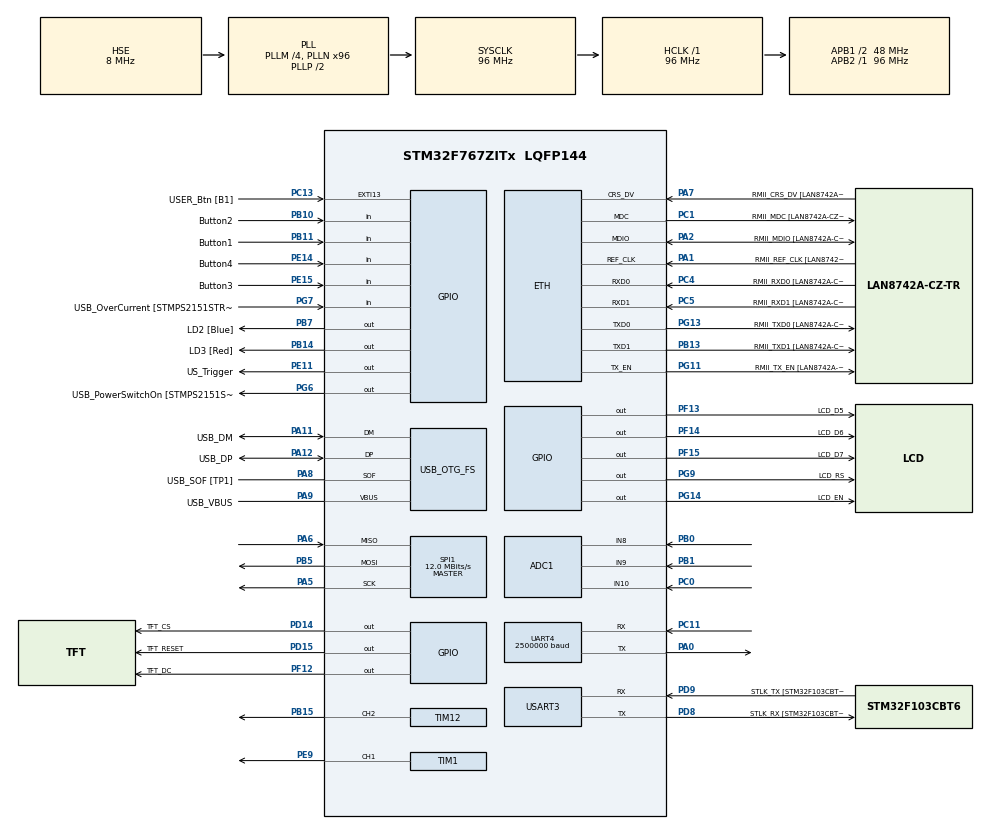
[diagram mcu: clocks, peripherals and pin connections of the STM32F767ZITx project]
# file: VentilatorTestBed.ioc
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ADC1.Channel-1\#ChannelRegularConversion=ADC_CHANNEL_8
ADC1.Channel-2\#ChannelRegularConversion=ADC_CHANNEL_9
ADC1.Channel-3\#ChannelRegularConversion=ADC_CHANNEL_10
ADC1.ContinuousConvMode=ENABLE
ADC1.DMAContinuousRequests=ENABLE
ADC1.EOCSelection=ADC_EOC_SEQ_CONV
ADC1.NbrOfConversion=3
ADC1.NbrOfConversionFlag=1
ADC1.Rank-1\#ChannelRegularConversion=1
ADC1.Rank-2\#ChannelRegularConversion=2
ADC1.Rank-3\#ChannelRegularConversion=3
ADC1.SamplingTime-1\#ChannelRegularConversion=ADC_SAMPLETIME_3CYCLES
ADC1.SamplingTime-2\#ChannelRegularConversion=ADC_SAMPLETIME_3CYCLES
ADC1.SamplingTime-3\#ChannelRegularConversion=ADC_SAMPLETIME_3CYCLES
ADC1.ScanConvMode=ADC_SCAN_ENABLE
ADC1.master=1
Dma.ADC1.4.Direction=DMA_PERIPH_TO_MEMORY
Dma.ADC1.4.FIFOMode=DMA_FIFOMODE_DISABLE
Dma.ADC1.4.Instance=DMA2_Stream4
Dma.ADC1.4.MemDataAlignment=DMA_MDATAALIGN_HALFWORD
Dma.ADC1.4.MemInc=DMA_MINC_ENABLE
Dma.ADC1.4.Mode=DMA_CIRCULAR
Dma.ADC1.4.PeriphDataAlignment=DMA_PDATAALIGN_HALFWORD
Dma.ADC1.4.PeriphInc=DMA_PINC_DISABLE
Dma.ADC1.4.Priority=DMA_PRIORITY_LOW
Dma.Request0=UART4_RX
Dma.Request1=SPI1_RX
Dma.Request2=SPI1_TX
Dma.Request3=UART4_TX
Dma.Request4=ADC1
Dma.SPI1_RX.1.Direction=DMA_PERIPH_TO_MEMORY
Dma.SPI1_RX.1.FIFOMode=DMA_FIFOMODE_DISABLE
Dma.SPI1_RX.1.Instance=DMA2_Stream0
Dma.SPI1_RX.1.MemDataAlignment=DMA_MDATAALIGN_HALFWORD
Dma.SPI1_RX.1.MemInc=DMA_MINC_ENABLE
Dma.SPI1_RX.1.Mode=DMA_NORMAL
Dma.SPI1_RX.1.PeriphDataAlignment=DMA_PDATAALIGN_HALFWORD
Dma.SPI1_RX.1.PeriphInc=DMA_PINC_DISABLE
Dma.SPI1_RX.1.Priority=DMA_PRIORITY_LOW
Dma.SPI1_TX.2.Direction=DMA_MEMORY_TO_PERIPH
Dma.SPI1_TX.2.FIFOMode=DMA_FIFOMODE_DISABLE
Dma.SPI1_TX.2.Instance=DMA2_Stream3
Dma.SPI1_TX.2.MemDataAlignment=DMA_MDATAALIGN_HALFWORD
Dma.SPI1_TX.2.MemInc=DMA_MINC_ENABLE
Dma.SPI1_TX.2.Mode=DMA_NORMAL
Dma.SPI1_TX.2.PeriphDataAlignment=DMA_PDATAALIGN_HALFWORD
Dma.SPI1_TX.2.PeriphInc=DMA_PINC_DISABLE
Dma.SPI1_TX.2.Priority=DMA_PRIORITY_LOW
Dma.UART4_RX.0.Direction=DMA_PERIPH_TO_MEMORY
Dma.UART4_RX.0.FIFOMode=DMA_FIFOMODE_DISABLE
Dma.UART4_RX.0.Instance=DMA1_Stream2
Dma.UART4_RX.0.MemDataAlignment=DMA_MDATAALIGN_BYTE
Dma.UART4_RX.0.MemInc=DMA_MINC_ENABLE
Dma.UART4_RX.0.Mode=DMA_NORMAL
Dma.UART4_RX.0.PeriphDataAlignment=DMA_PDATAALIGN_BYTE
Dma.UART4_RX.0.PeriphInc=DMA_PINC_DISABLE
Dma.UART4_RX.0.Priority=DMA_PRIORITY_LOW
Dma.UART4_TX.3.Direction=DMA_MEMORY_TO_PERIPH
Dma.UART4_TX.3.FIFOMode=DMA_FIFOMODE_DISABLE
Dma.UART4_TX.3.Instance=DMA1_Stream4
Dma.UART4_TX.3.MemDataAlignment=DMA_MDATAALIGN_BYTE
Dma.UART4_TX.3.MemInc=DMA_MINC_ENABLE
Dma.UART4_TX.3.Mode=DMA_NORMAL
Dma.UART4_TX.3.PeriphDataAlignment=DMA_PDATAALIGN_BYTE
Dma.UART4_TX.3.PeriphInc=DMA_PINC_DISABLE
Dma.UART4_TX.3.Priority=DMA_PRIORITY_LOW
ETH.MediaInterface=ETH_MEDIA_INTERFACE_RMII
ETH.PHY_Name=LAN8742A_PHY_ADDRESS
ETH.PHY_Value=0
ETH.PhyAddress=0
FREERTOS.Tasks01=defaultTask,24,128,StartDefaultTask,Default,NULL
FREERTOS.configTIMER_TASK_PRIORITY=55
Mcu.Family=STM32F7
Mcu.Name=STM32F767ZITx
Mcu.Package=LQFP144
NVIC.DMA1_Stream2_IRQn=true\:5\:0\:false\:false\:true\:true\:false\:true
NVIC.DMA1_Stream4_IRQn=true\:5\:0\:false\:false\:true\:true\:false\:true
NVIC.DMA2_Stream0_IRQn=true\:5\:0\:false\:false\:true\:true\:false\:true
NVIC.DMA2_Stream3_IRQn=true\:5\:0\:false\:false\:true\:true\:false\:true
NVIC.DMA2_Stream4_IRQn=true\:5\:0\:false\:false\:true\:true\:false\:true
NVIC.PriorityGroup=NVIC_PRIORITYGROUP_4
NVIC.SPI1_IRQn=true\:5\:0\:false\:false\:true\:true\:true\:true
NVIC.TIM1_UP_TIM10_IRQn=true\:5\:0\:false\:false\:true\:true\:true\:true
NVIC.TIM8_UP_TIM13_IRQn=true\:0\:0\:false\:false\:true\:false\:false\:true
NVIC.TimeBase=TIM8_UP_TIM13_IRQn
NVIC.TimeBaseIP=TIM8
PA0/WKUP.Mode=Asynchronous
PA0/WKUP.Signal=UART4_TX
PA1.GPIO_Label=RMII_REF_CLK [LAN8742A-CZ-TR_REFCLK0]
PA1.Mode=RMII
PA1.Signal=ETH_REF_CLK
PA10.GPIO_Label=USB_ID
PA10.Signal=USB_OTG_FS_ID
PA11.GPIO_Label=USB_DM
PA11.Mode=Device_Only
PA11.Signal=USB_OTG_FS_DM
PA12.GPIO_Label=USB_DP
PA12.Mode=Device_Only
PA12.Signal=USB_OTG_FS_DP
PA13.GPIO_Label=TMS
PA13.Mode=Serial_Wire
PA13.Signal=SYS_JTMS-SWDIO
PA14.GPIO_Label=TCK
PA14.Mode=Serial_Wire
PA14.Signal=SYS_JTCK-SWCLK
PA2.GPIO_Label=RMII_MDIO [LAN8742A-CZ-TR_MDIO]
PA2.Mode=RMII
PA2.Signal=ETH_MDIO
PA5.Mode=Full_Duplex_Master
PA5.Signal=SPI1_SCK
PA6.Mode=Full_Duplex_Master
PA6.Signal=SPI1_MISO
PA7.GPIO_Label=RMII_CRS_DV [LAN8742A-CZ-TR_CRS_DV]
PA7.Mode=RMII
PA7.Signal=ETH_CRS_DV
PA8.GPIO_Label=USB_SOF [TP1]
PA8.Mode=Activate_SOF_FS
PA8.Signal=USB_OTG_FS_SOF
PA9.GPIO_Label=USB_VBUS
PA9.Mode=Activate_VBUS
PA9.Signal=USB_OTG_FS_VBUS
PB0.Signal=ADCx_IN8
PB1.Signal=ADCx_IN9
PB10.GPIO_Label=Button2
PB10.GPIO_PuPd=GPIO_PULLUP
PB10.Signal=GPIO_Input
PB11.GPIO_Label=Button1
PB11.GPIO_PuPd=GPIO_PULLUP
PB11.Signal=GPIO_Input
PB13.GPIO_Label=RMII_TXD1 [LAN8742A-CZ-TR_TXD1]
PB13.Mode=RMII
PB13.Signal=ETH_TXD1
PB14.GPIO_Label=LD3 [Red]
PB14.Signal=GPIO_Output
PB15.Signal=S_TIM12_CH2
PB3.GPIO_Label=SWO
PB3.Signal=SYS_JTDO-SWO
PB5.Mode=Full_Duplex_Master
PB5.Signal=SPI1_MOSI
PB7.GPIO_Label=LD2 [Blue]
PB7.Signal=GPIO_Output
PC0.Signal=ADCx_IN10
PC1.GPIO_Label=RMII_MDC [LAN8742A-CZ-TR_MDC]
PC1.Mode=RMII
PC1.Signal=ETH_MDC
PC11.Mode=Asynchronous
PC11.Signal=UART4_RX
PC13.GPIO_Label=USER_Btn [B1]
PC13.Signal=GPXTI13
PC14/OSC32_IN.Mode=LSE-External-Oscillator
PC14/OSC32_IN.Signal=RCC_OSC32_IN
PC15/OSC32_OUT.Mode=LSE-External-Oscillator
PC15/OSC32_OUT.Signal=RCC_OSC32_OUT
PC4.GPIO_Label=RMII_RXD0 [LAN8742A-CZ-TR_RXD0]
PC4.Mode=RMII
PC4.Signal=ETH_RXD0
PC5.GPIO_Label=RMII_RXD1 [LAN8742A-CZ-TR_RXD1]
PC5.Mode=RMII
PC5.Signal=ETH_RXD1
PD14.GPIO_Label=TFT_CS
PD14.Signal=GPIO_Output
PD15.GPIO_Label=TFT_RESET
PD15.Signal=GPIO_Output
PD8.GPIO_Label=STLK_RX [STM32F103CBT6_PA3]
PD8.Mode=Asynchronous
PD8.Signal=USART3_TX
PD9.GPIO_Label=STLK_TX [STM32F103CBT6_PA2]
PD9.Mode=Asynchronous
PD9.Signal=USART3_RX
PE11.GPIO_Label=US_Trigger
PE11.Signal=GPIO_Output
PE14.GPIO_Label=Button4
PE14.GPIO_PuPd=GPIO_PULLUP
PE14.Signal=GPIO_Input
PE15.GPIO_Label=Button3
PE15.GPIO_PuPd=GPIO_PULLUP
PE15.Signal=GPIO_Input
PE9.Signal=S_TIM1_CH1
PF12.GPIO_Label=TFT_DC
PF12.GPIO_ModeDefaultOutputPP=GPIO_MODE_OUTPUT_PP
PF12.Signal=GPIO_Output
PF13.GPIO_Label=LCD_D5
PF13.GPIO_ModeDefaultOutputPP=GPIO_MODE_OUTPUT_OD
PF13.Signal=GPIO_Output
PF14.GPIO_Label=LCD_D6
PF14.GPIO_ModeDefaultOutputPP=GPIO_MODE_OUTPUT_OD
PF14.Signal=GPIO_Output
PF15.GPIO_Label=LCD_D7
PF15.GPIO_ModeDefaultOutputPP=GPIO_MODE_OUTPUT_OD
PF15.Signal=GPIO_Output
PG11.GPIO_Label=RMII_TX_EN [LAN8742A-CZ-TR_TXEN]
PG11.Mode=RMII
PG11.Signal=ETH_TX_EN
PG13.GPIO_Label=RMII_TXD0 [LAN8742A-CZ-TR_TXD0]
PG13.Mode=RMII
PG13.Signal=ETH_TXD0
PG14.GPIO_Label=LCD_EN
PG14.GPIO_ModeDefaultOutputPP=GPIO_MODE_OUTPUT_OD
PG14.GPIO_PuPd=GPIO_PULLUP
PG14.Signal=GPIO_Output
PG6.GPIO_Label=USB_PowerSwitchOn [STMPS2151STR_EN]
PG6.Signal=GPIO_Output
PG7.GPIO_Label=USB_OverCurrent [STMPS2151STR_FAULT]
PG7.Signal=GPIO_Input
PG9.GPIO_Label=LCD_RS
PG9.GPIO_ModeDefaultOutputPP=GPIO_MODE_OUTPUT_OD
PG9.Signal=GPIO_Output
PH0/OSC_IN.GPIO_Label=MCO [STM32F103CBT6_PA8]
PH0/OSC_IN.Mode=HSE-External-Clock-Source
PH0/OSC_IN.Signal=RCC_OSC_IN
PH1/OSC_OUT.Mode=HSE-External-Clock-Source
PH1/OSC_OUT.Signal=RCC_OSC_OUT
ProjectManager.HeapSize=0x200
ProjectManager.StackSize=0x400
ProjectManager.TargetToolchain=Makefile
RCC.48MHZClocksFreq_Value=24000000
RCC.AHBFreq_Value=96000000
RCC.APB1CLKDivider=RCC_HCLK_DIV2
RCC.APB1Freq_Value=48000000
RCC.APB1TimFreq_Value=96000000
RCC.APB2Freq_Value=96000000
RCC.APB2TimFreq_Value=96000000
RCC.CortexFreq_Value=96000000
RCC.HCLKFreq_Value=96000000
RCC.HSE_VALUE=8000000
RCC.HSI_VALUE=16000000
RCC.PLLM=4
RCC.PLLMUL=RCC_PLL_MUL9
RCC.PLLN=96
RCC.PLLQ=4
RCC.PRESCALERUSB=RCC_USBCLKSOURCE_PLL_DIV1_5
RCC.SYSCLKFreq_VALUE=96000000
RCC.SYSCLKSource=RCC_SYSCLKSOURCE_PLLCLK
RCC.SYSCLKSourceVirtual=RCC_SYSCLKSOURCE_PLLCLK
RCC.USBFreq_Value=48000000
RCC.VCOOutputFreq_Value=192000000
SH.ADCx_IN10.0=ADC1_IN10,IN10
SH.ADCx_IN8.0=ADC1_IN8,IN8
SH.ADCx_IN9.0=ADC1_IN9,IN9
SH.S_TIM12_CH2.0=TIM12_CH2,PWM Generation2 CH2
SH.S_TIM1_CH1.0=TIM1_CH1,PWM Generation1 CH1
SPI1.BaudRatePrescaler=SPI_BAUDRATEPRESCALER_8
SPI1.CalculateBaudRate=12.0 MBits/s
SPI1.DataSize=SPI_DATASIZE_8BIT
SPI1.Direction=SPI_DIRECTION_2LINES
SPI1.Mode=SPI_MODE_MASTER
SPI1.TIMode=SPI_TIMODE_DISABLE
SPI1.VirtualType=VM_MASTER
TIM1.Channel-PWM\ Generation1\ CH1=TIM_CHANNEL_1
TIM1.Period=65535
TIM12.Channel-PWM\ Generation2\ CH2=TIM_CHANNEL_2
TIM12.Period=65535
TIM12.Pulse-PWM\ Generation2\ CH2=10000
UART4.BaudRate=2500000
USART3.VirtualMode-Asynchronous=VM_ASYNC
USB_OTG_FS.VirtualMode=Device_Only
VP_FREERTOS_VS_CMSIS_V2.Mode=CMSIS_V2
VP_IWDG_VS_IWDG.Mode=IWDG_Activate
VP_SYS_VS_tim8.Mode=TIM8
VP_TIM12_VS_ClockSourceINT.Mode=Internal
VP_TIM12_VS_OPM.Mode=OPM_bit
VP_TIM1_VS_ClockSourceINT.Mode=Internal
board=NUCLEO-F767ZI

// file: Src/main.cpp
/* USER CODE BEGIN Header */
/**
  ******************************************************************************
  * @file           : main.c
  * @brief          : Main program body
  ******************************************************************************
  * @attention
  *
  * <h2><center>&copy; Copyright (c) 2020 STMicroelectronics.
  * All rights reserved.</center></h2>
  *
  * This software component is licensed by ST under Ultimate Liberty license
  * SLA0044, the "License"; You may not use this file except in compliance with
  * the License. You may obtain a copy of the License at:
  *                             www.st.com/SLA0044
  *
  ******************************************************************************
  */
/* USER CODE END Header */

#include "main.h"
#include "cmsis_os.h"

/* USER CODE BEGIN Includes */
#include "CircularBuffer.hpp"
#include "test.hpp"
#include "LinkedList.hpp"
#include "WatchdogTask.hpp"
#include "PneumaticActuator.hpp"
#include "UserInput.hpp"
#include "ButtonHandler.hpp"
#include "AnemometerTask.hpp"
#include "DisplayTask.hpp"
#include "ILI9340.hpp"
#include "ILI9340_CTranslator.h"
#include "GUI.h"
/* USER CODE END Includes */

ADC_HandleTypeDef hadc1;
DMA_HandleTypeDef hdma_adc1;

ETH_HandleTypeDef heth;

IWDG_HandleTypeDef hiwdg;

SPI_HandleTypeDef hspi1;
DMA_HandleTypeDef hdma_spi1_rx;
DMA_HandleTypeDef hdma_spi1_tx;

TIM_HandleTypeDef htim1;
TIM_HandleTypeDef htim12;

UART_HandleTypeDef huart4;
UART_HandleTypeDef huart3;
DMA_HandleTypeDef hdma_uart4_rx;
DMA_HandleTypeDef hdma_uart4_tx;

PCD_HandleTypeDef hpcd_USB_OTG_FS;

osThreadId_t defaultTaskHandle;
/* USER CODE BEGIN PV */
char CBBuffer[256];
CCBBuffer<char> UARTCB(CBBuffer, ARRAY_LEN(CBBuffer), false, true);

//CTestTask test(1000);

/* USER CODE END PV */

void SystemClock_Config(void);
static void MX_GPIO_Init(void);
static void MX_DMA_Init(void);
static void MX_ETH_Init(void);
static void MX_USART3_UART_Init(void);
static void MX_USB_OTG_FS_PCD_Init(void);
static void MX_SPI1_Init(void);
static void MX_UART4_Init(void);
static void MX_IWDG_Init(void);
static void MX_TIM1_Init(void);
static void MX_ADC1_Init(void);
static void MX_TIM12_Init(void);
void StartDefaultTask(void *argument);

/* USER CODE BEGIN PFP */
int main(void);
/* USER CODE END PFP */

/* USER CODE BEGIN 0 */
uint32_t blinkyStack[512];
uint32_t encoderStack[512];
uint32_t PAStack[512];
uint32_t UIStack[2048];
uint32_t debounceStack[512];
uint32_t buttonHandlerStack[512];
uint32_t AnemometerStack[512];
uint32_t DisplayStack[2048];

uint32_t watchdogStack[512];
CWatchdogTask watchdogTask("watchdog"
                        , 100.0f
                        , osPriorityNormal7
                        , (void *)watchdogStack
                        , ARRAY_LEN(watchdogStack)
                        , &hiwdg);

extern CILI9340 ILI9340;

CTestTask blinky("blinky"
        , 1
        , osPriorityNormal
        , (void *)blinkyStack
        , ARRAY_LEN(blinkyStack)
        , &watchdogTask);

CPneumaticActuator pneumaticActuator("Pneumatic Actuator"
        , 25
        , osPriorityNormal
        , (void *)PAStack
        , ARRAY_LEN(PAStack)
        , &htim1
        , &watchdogTask);

CUserInput UserInput("User Input"
        , 100
        , osPriorityNormal
        , (void *)UIStack
        , ARRAY_LEN(UIStack)
        , &hadc1
        , nullptr
        , &pneumaticActuator
        , &watchdogTask);

CDebounceTask DebounceTask("Debounce Task"
        , 100
        , osPriorityNormal
        , (void *)debounceStack
        , ARRAY_LEN(debounceStack)
        , &watchdogTask);

CbuttonHandler ButtonHandler("Button Handle Task"
        , 100
        , osPriorityNormal
        , (void *)buttonHandlerStack
        , ARRAY_LEN(buttonHandlerStack)
        , &DebounceTask
        , &pneumaticActuator
        , &watchdogTask);

CAnemometerTask AnemometerTask("Anemometer Task"
        , 1
        , osPriorityNormal
        , (void *)AnemometerStack
        , ARRAY_LEN(AnemometerStack)
        , &htim12
        , &watchdogTask);

CDisplayTask DisplayTask("Display Task"
        , 100
        , osPriorityNormal
        , (void *)DisplayStack
        , ARRAY_LEN(DisplayStack)
        , &ILI9340
        , TFT_WIDTH
        , TFT_HEIGHT
        , &watchdogTask);

//CGraphWidget graph(&ILI9340, 0, 0, TFT_HEIGHT, TFT_WIDTH, LIGHTGREY);

/* USER CODE END 0 */

int main(void)
{

  /* MCU Configuration--------------------------------------------------------*/

  /* Reset of all peripherals, Initializes the Flash interface and the Systick. */
  HAL_Init();

  /* Configure the system clock */
  SystemClock_Config();

  /* Initialize all configured peripherals */
  MX_GPIO_Init();
  MX_DMA_Init();
//  MX_ETH_Init();
  MX_USART3_UART_Init();
  MX_USB_OTG_FS_PCD_Init();
  MX_SPI1_Init();
  MX_UART4_Init();
  MX_IWDG_Init();
  MX_TIM1_Init();
  MX_ADC1_Init();
  MX_TIM12_Init();

  osKernelInitialize();

  /* Create the thread(s) */
  /* definition and creation of defaultTask */
  const osThreadAttr_t defaultTask_attributes = {
    .name = "defaultTask",
    .stack_size = 128,
    .priority = (osPriority_t) osPriorityNormal
  };
  defaultTaskHandle = osThreadNew(StartDefaultTask, NULL, &defaultTask_attributes);

  /* USER CODE BEGIN RTOS_THREADS */
  /* add threads, ... */
  ILI9340.init();
  ILI9340.setRotation(1);

  DisplayTask.start();
//  ControlWidget.init();
  watchdogTask.start();
  blinky.start();
  UserInput.start();
  pneumaticActuator.start();
  DebounceTask.start();
  ButtonHandler.start();
  AnemometerTask.start();

  /* USER CODE END RTOS_THREADS */

  /* Start scheduler */
  osKernelStart();

  /* We should never get here as control is now taken by the scheduler */

  /* Infinite loop */
  while (1)
  {

  }
}

void SystemClock_Config(void)
{
  RCC_OscInitTypeDef RCC_OscInitStruct = {0};
  RCC_ClkInitTypeDef RCC_ClkInitStruct = {0};
  RCC_PeriphCLKInitTypeDef PeriphClkInitStruct = {0};

  /** Configure LSE Drive Capability
  */
  HAL_PWR_EnableBkUpAccess();
  /** Configure the main internal regulator output voltage
  */
  __HAL_RCC_PWR_CLK_ENABLE();
  __HAL_PWR_VOLTAGESCALING_CONFIG(PWR_REGULATOR_VOLTAGE_SCALE3);
  /** Initializes the CPU, AHB and APB busses clocks
  */
  RCC_OscInitStruct.OscillatorType = RCC_OSCILLATORTYPE_LSI|RCC_OSCILLATORTYPE_HSE;
  RCC_OscInitStruct.HSEState = RCC_HSE_BYPASS;
  RCC_OscInitStruct.LSIState = RCC_LSI_ON;
  RCC_OscInitStruct.PLL.PLLState = RCC_PLL_ON;
  RCC_OscInitStruct.PLL.PLLSource = RCC_PLLSOURCE_HSE;
  RCC_OscInitStruct.PLL.PLLM = 4;
  RCC_OscInitStruct.PLL.PLLN = 96;
  RCC_OscInitStruct.PLL.PLLP = RCC_PLLP_DIV2;
  RCC_OscInitStruct.PLL.PLLQ = 4;
  if (HAL_RCC_OscConfig(&RCC_OscInitStruct) != HAL_OK)
  {
    Error_Handler();
  }
  /** Activate the Over-Drive mode
  */
  if (HAL_PWREx_EnableOverDrive() != HAL_OK)
  {
    Error_Handler();
  }
  /** Initializes the CPU, AHB and APB busses clocks
  */
  RCC_ClkInitStruct.ClockType = RCC_CLOCKTYPE_HCLK|RCC_CLOCKTYPE_SYSCLK
                              |RCC_CLOCKTYPE_PCLK1|RCC_CLOCKTYPE_PCLK2;
  RCC_ClkInitStruct.SYSCLKSource = RCC_SYSCLKSOURCE_PLLCLK;
  RCC_ClkInitStruct.AHBCLKDivider = RCC_SYSCLK_DIV1;
  RCC_ClkInitStruct.APB1CLKDivider = RCC_HCLK_DIV2;
  RCC_ClkInitStruct.APB2CLKDivider = RCC_HCLK_DIV1;

  if (HAL_RCC_ClockConfig(&RCC_ClkInitStruct, FLASH_LATENCY_3) != HAL_OK)
  {
    Error_Handler();
  }
  PeriphClkInitStruct.PeriphClockSelection = RCC_PERIPHCLK_USART3|RCC_PERIPHCLK_UART4
                              |RCC_PERIPHCLK_CLK48;
  PeriphClkInitStruct.Usart3ClockSelection = RCC_USART3CLKSOURCE_PCLK1;
  PeriphClkInitStruct.Uart4ClockSelection = RCC_UART4CLKSOURCE_PCLK1;
  PeriphClkInitStruct.Clk48ClockSelection = RCC_CLK48SOURCE_PLL;
  if (HAL_RCCEx_PeriphCLKConfig(&PeriphClkInitStruct) != HAL_OK)
  {
    Error_Handler();
  }
}

static void MX_ADC1_Init(void)
{

  ADC_ChannelConfTypeDef sConfig = {0};

  /** Configure the global features of the ADC (Clock, Resolution, Data Alignment and number of conversion)
  */
  hadc1.Instance = ADC1;
  hadc1.Init.ClockPrescaler = ADC_CLOCK_SYNC_PCLK_DIV4;
  hadc1.Init.Resolution = ADC_RESOLUTION_12B;
  hadc1.Init.ScanConvMode = ADC_SCAN_ENABLE;
  hadc1.Init.ContinuousConvMode = ENABLE;
  hadc1.Init.DiscontinuousConvMode = DISABLE;
  hadc1.Init.ExternalTrigConvEdge = ADC_EXTERNALTRIGCONVEDGE_NONE;
  hadc1.Init.ExternalTrigConv = ADC_SOFTWARE_START;
  hadc1.Init.DataAlign = ADC_DATAALIGN_RIGHT;
  hadc1.Init.NbrOfConversion = 3;
  hadc1.Init.DMAContinuousRequests = ENABLE;
  hadc1.Init.EOCSelection = ADC_EOC_SEQ_CONV;
  if (HAL_ADC_Init(&hadc1) != HAL_OK)
  {
    Error_Handler();
  }
  /** Configure for the selected ADC regular channel its corresponding rank in the sequencer and its sample time.
  */
  sConfig.Channel = ADC_CHANNEL_8;
  sConfig.Rank = ADC_REGULAR_RANK_1;
  sConfig.SamplingTime = ADC_SAMPLETIME_3CYCLES;
  if (HAL_ADC_ConfigChannel(&hadc1, &sConfig) != HAL_OK)
  {
    Error_Handler();
  }
  /** Configure for the selected ADC regular channel its corresponding rank in the sequencer and its sample time.
  */
  sConfig.Channel = ADC_CHANNEL_9;
  sConfig.Rank = ADC_REGULAR_RANK_2;
  if (HAL_ADC_ConfigChannel(&hadc1, &sConfig) != HAL_OK)
  {
    Error_Handler();
  }
  /** Configure for the selected ADC regular channel its corresponding rank in the sequencer and its sample time.
  */
  sConfig.Channel = ADC_CHANNEL_10;
  sConfig.Rank = ADC_REGULAR_RANK_3;
  if (HAL_ADC_ConfigChannel(&hadc1, &sConfig) != HAL_OK)
  {
    Error_Handler();
  }

}

static void MX_ETH_Init(void)
{

   uint8_t MACAddr[6] ;

  heth.Instance = ETH;
  heth.Init.AutoNegotiation = ETH_AUTONEGOTIATION_ENABLE;
  heth.Init.PhyAddress = LAN8742A_PHY_ADDRESS;
  MACAddr[0] = 0x00;
  MACAddr[1] = 0x80;
  MACAddr[2] = 0xE1;
  MACAddr[3] = 0x00;
  MACAddr[4] = 0x00;
  MACAddr[5] = 0x00;
  heth.Init.MACAddr = &MACAddr[0];
  heth.Init.RxMode = ETH_RXPOLLING_MODE;
  heth.Init.ChecksumMode = ETH_CHECKSUM_BY_HARDWARE;
  heth.Init.MediaInterface = ETH_MEDIA_INTERFACE_RMII;

  if (HAL_ETH_Init(&heth) != HAL_OK)
  {
    Error_Handler();
  }

}

static void MX_IWDG_Init(void)
{

  /* USER CODE BEGIN IWDG_Init 1 */
#if 0
  /* USER CODE END IWDG_Init 1 */
  hiwdg.Instance = IWDG;
  hiwdg.Init.Prescaler = IWDG_PRESCALER_4;
  hiwdg.Init.Window = 4095;
  hiwdg.Init.Reload = 4095;
  if (HAL_IWDG_Init(&hiwdg) != HAL_OK)
  {
    Error_Handler();
  }
  /* USER CODE BEGIN IWDG_Init 2 */
#endif
  /* USER CODE END IWDG_Init 2 */

}

static void MX_SPI1_Init(void)
{

  /* SPI1 parameter configuration*/
  hspi1.Instance = SPI1;
  hspi1.Init.Mode = SPI_MODE_MASTER;
  hspi1.Init.Direction = SPI_DIRECTION_2LINES;
  hspi1.Init.DataSize = SPI_DATASIZE_8BIT;
  hspi1.Init.CLKPolarity = SPI_POLARITY_LOW;
  hspi1.Init.CLKPhase = SPI_PHASE_1EDGE;
  hspi1.Init.NSS = SPI_NSS_SOFT;
  hspi1.Init.BaudRatePrescaler = SPI_BAUDRATEPRESCALER_8;
  hspi1.Init.FirstBit = SPI_FIRSTBIT_MSB;
  hspi1.Init.TIMode = SPI_TIMODE_DISABLE;
  hspi1.Init.CRCCalculation = SPI_CRCCALCULATION_DISABLE;
  hspi1.Init.CRCPolynomial = 7;
  hspi1.Init.CRCLength = SPI_CRC_LENGTH_DATASIZE;
  hspi1.Init.NSSPMode = SPI_NSS_PULSE_ENABLE;
  if (HAL_SPI_Init(&hspi1) != HAL_OK)
  {
    Error_Handler();
  }

}

static void MX_TIM1_Init(void)
{

  TIM_ClockConfigTypeDef sClockSourceConfig = {0};
  TIM_MasterConfigTypeDef sMasterConfig = {0};
  TIM_OC_InitTypeDef sConfigOC = {0};
  TIM_BreakDeadTimeConfigTypeDef sBreakDeadTimeConfig = {0};

  htim1.Instance = TIM1;
  htim1.Init.Prescaler = 0;
  htim1.Init.CounterMode = TIM_COUNTERMODE_UP;
  htim1.Init.Period = 65535;
  htim1.Init.ClockDivision = TIM_CLOCKDIVISION_DIV1;
  htim1.Init.RepetitionCounter = 0;
  htim1.Init.AutoReloadPreload = TIM_AUTORELOAD_PRELOAD_DISABLE;
  if (HAL_TIM_Base_Init(&htim1) != HAL_OK)
  {
    Error_Handler();
  }
  sClockSourceConfig.ClockSource = TIM_CLOCKSOURCE_INTERNAL;
  if (HAL_TIM_ConfigClockSource(&htim1, &sClockSourceConfig) != HAL_OK)
  {
    Error_Handler();
  }
  if (HAL_TIM_PWM_Init(&htim1) != HAL_OK)
  {
    Error_Handler();
  }
  sMasterConfig.MasterOutputTrigger = TIM_TRGO_RESET;
  sMasterConfig.MasterOutputTrigger2 = TIM_TRGO2_RESET;
  sMasterConfig.MasterSlaveMode = TIM_MASTERSLAVEMODE_DISABLE;
  if (HAL_TIMEx_MasterConfigSynchronization(&htim1, &sMasterConfig) != HAL_OK)
  {
    Error_Handler();
  }
  sConfigOC.OCMode = TIM_OCMODE_PWM1;
  sConfigOC.Pulse = 0;
  sConfigOC.OCPolarity = TIM_OCPOLARITY_HIGH;
  sConfigOC.OCNPolarity = TIM_OCNPOLARITY_HIGH;
  sConfigOC.OCFastMode = TIM_OCFAST_DISABLE;
  sConfigOC.OCIdleState = TIM_OCIDLESTATE_RESET;
  sConfigOC.OCNIdleState = TIM_OCNIDLESTATE_RESET;
  if (HAL_TIM_PWM_ConfigChannel(&htim1, &sConfigOC, TIM_CHANNEL_1) != HAL_OK)
  {
    Error_Handler();
  }
  sBreakDeadTimeConfig.OffStateRunMode = TIM_OSSR_DISABLE;
  sBreakDeadTimeConfig.OffStateIDLEMode = TIM_OSSI_DISABLE;
  sBreakDeadTimeConfig.LockLevel = TIM_LOCKLEVEL_OFF;
  sBreakDeadTimeConfig.DeadTime = 0;
  sBreakDeadTimeConfig.BreakState = TIM_BREAK_DISABLE;
  sBreakDeadTimeConfig.BreakPolarity = TIM_BREAKPOLARITY_HIGH;
  sBreakDeadTimeConfig.BreakFilter = 0;
  sBreakDeadTimeConfig.Break2State = TIM_BREAK2_DISABLE;
  sBreakDeadTimeConfig.Break2Polarity = TIM_BREAK2POLARITY_HIGH;
  sBreakDeadTimeConfig.Break2Filter = 0;
  sBreakDeadTimeConfig.AutomaticOutput = TIM_AUTOMATICOUTPUT_DISABLE;
  if (HAL_TIMEx_ConfigBreakDeadTime(&htim1, &sBreakDeadTimeConfig) != HAL_OK)
  {
    Error_Handler();
  }
  HAL_TIM_MspPostInit(&htim1);

}

static void MX_TIM12_Init(void)
{

  TIM_ClockConfigTypeDef sClockSourceConfig = {0};
  TIM_OC_InitTypeDef sConfigOC = {0};

  htim12.Instance = TIM12;
  htim12.Init.Prescaler = 0;
  htim12.Init.CounterMode = TIM_COUNTERMODE_UP;
  htim12.Init.Period = 65535;
  htim12.Init.ClockDivision = TIM_CLOCKDIVISION_DIV1;
  htim12.Init.AutoReloadPreload = TIM_AUTORELOAD_PRELOAD_DISABLE;
  if (HAL_TIM_Base_Init(&htim12) != HAL_OK)
  {
    Error_Handler();
  }
  sClockSourceConfig.ClockSource = TIM_CLOCKSOURCE_INTERNAL;
  if (HAL_TIM_ConfigClockSource(&htim12, &sClockSourceConfig) != HAL_OK)
  {
    Error_Handler();
  }
  if (HAL_TIM_PWM_Init(&htim12) != HAL_OK)
  {
    Error_Handler();
  }
  if (HAL_TIM_OnePulse_Init(&htim12, TIM_OPMODE_SINGLE) != HAL_OK)
  {
    Error_Handler();
  }
  sConfigOC.OCMode = TIM_OCMODE_PWM1;
  sConfigOC.Pulse = 10000;
  sConfigOC.OCPolarity = TIM_OCPOLARITY_HIGH;
  sConfigOC.OCFastMode = TIM_OCFAST_DISABLE;
  if (HAL_TIM_PWM_ConfigChannel(&htim12, &sConfigOC, TIM_CHANNEL_2) != HAL_OK)
  {
    Error_Handler();
  }
  HAL_TIM_MspPostInit(&htim12);

}

static void MX_UART4_Init(void)
{

  huart4.Instance = UART4;
  huart4.Init.BaudRate = 2500000;
  huart4.Init.WordLength = UART_WORDLENGTH_8B;
  huart4.Init.StopBits = UART_STOPBITS_1;
  huart4.Init.Parity = UART_PARITY_NONE;
  huart4.Init.Mode = UART_MODE_TX_RX;
  huart4.Init.HwFlowCtl = UART_HWCONTROL_NONE;
  huart4.Init.OverSampling = UART_OVERSAMPLING_16;
  huart4.Init.OneBitSampling = UART_ONE_BIT_SAMPLE_DISABLE;
  huart4.AdvancedInit.AdvFeatureInit = UART_ADVFEATURE_NO_INIT;
  if (HAL_UART_Init(&huart4) != HAL_OK)
  {
    Error_Handler();
  }

}

static void MX_USART3_UART_Init(void)
{

  huart3.Instance = USART3;
  huart3.Init.BaudRate = 115200;
  huart3.Init.WordLength = UART_WORDLENGTH_8B;
  huart3.Init.StopBits = UART_STOPBITS_1;
  huart3.Init.Parity = UART_PARITY_NONE;
  huart3.Init.Mode = UART_MODE_TX_RX;
  huart3.Init.HwFlowCtl = UART_HWCONTROL_NONE;
  huart3.Init.OverSampling = UART_OVERSAMPLING_16;
  huart3.Init.OneBitSampling = UART_ONE_BIT_SAMPLE_DISABLE;
  huart3.AdvancedInit.AdvFeatureInit = UART_ADVFEATURE_NO_INIT;
  if (HAL_UART_Init(&huart3) != HAL_OK)
  {
    Error_Handler();
  }

}

static void MX_USB_OTG_FS_PCD_Init(void)
{

  hpcd_USB_OTG_FS.Instance = USB_OTG_FS;
  hpcd_USB_OTG_FS.Init.dev_endpoints = 6;
  hpcd_USB_OTG_FS.Init.speed = PCD_SPEED_FULL;
  hpcd_USB_OTG_FS.Init.dma_enable = DISABLE;
  hpcd_USB_OTG_FS.Init.phy_itface = PCD_PHY_EMBEDDED;
  hpcd_USB_OTG_FS.Init.Sof_enable = ENABLE;
  hpcd_USB_OTG_FS.Init.low_power_enable = DISABLE;
  hpcd_USB_OTG_FS.Init.lpm_enable = DISABLE;
  hpcd_USB_OTG_FS.Init.vbus_sensing_enable = ENABLE;
  hpcd_USB_OTG_FS.Init.use_dedicated_ep1 = DISABLE;
  if (HAL_PCD_Init(&hpcd_USB_OTG_FS) != HAL_OK)
  {
    Error_Handler();
  }

}

static void MX_DMA_Init(void)
{

  /* DMA controller clock enable */
  __HAL_RCC_DMA1_CLK_ENABLE();
  __HAL_RCC_DMA2_CLK_ENABLE();

  /* DMA interrupt init */
  /* DMA1_Stream2_IRQn interrupt configuration */
  HAL_NVIC_SetPriority(DMA1_Stream2_IRQn, 5, 0);
  HAL_NVIC_EnableIRQ(DMA1_Stream2_IRQn);
  /* DMA1_Stream4_IRQn interrupt configuration */
  HAL_NVIC_SetPriority(DMA1_Stream4_IRQn, 5, 0);
  HAL_NVIC_EnableIRQ(DMA1_Stream4_IRQn);
  /* DMA2_Stream0_IRQn interrupt configuration */
  HAL_NVIC_SetPriority(DMA2_Stream0_IRQn, 5, 0);
  HAL_NVIC_EnableIRQ(DMA2_Stream0_IRQn);
  /* DMA2_Stream3_IRQn interrupt configuration */
  HAL_NVIC_SetPriority(DMA2_Stream3_IRQn, 5, 0);
  HAL_NVIC_EnableIRQ(DMA2_Stream3_IRQn);
  /* DMA2_Stream4_IRQn interrupt configuration */
  HAL_NVIC_SetPriority(DMA2_Stream4_IRQn, 5, 0);
  HAL_NVIC_EnableIRQ(DMA2_Stream4_IRQn);

}

static void MX_GPIO_Init(void)
{
  GPIO_InitTypeDef GPIO_InitStruct = {0};

  /* GPIO Ports Clock Enable */
  __HAL_RCC_GPIOC_CLK_ENABLE();
  __HAL_RCC_GPIOH_CLK_ENABLE();
  __HAL_RCC_GPIOA_CLK_ENABLE();
  __HAL_RCC_GPIOB_CLK_ENABLE();
  __HAL_RCC_GPIOF_CLK_ENABLE();
  __HAL_RCC_GPIOE_CLK_ENABLE();
  __HAL_RCC_GPIOD_CLK_ENABLE();
  __HAL_RCC_GPIOG_CLK_ENABLE();

  /*Configure GPIO pin Output Level */
  HAL_GPIO_WritePin(GPIOF, TFT_DC_Pin|LCD_D5_Pin|LCD_D6_Pin|LCD_D7_Pin, GPIO_PIN_RESET);

  /*Configure GPIO pin Output Level */
  HAL_GPIO_WritePin(US_Trigger_GPIO_Port, US_Trigger_Pin, GPIO_PIN_RESET);

  /*Configure GPIO pin Output Level */
  HAL_GPIO_WritePin(GPIOB, LD3_Pin|LD2_Pin, GPIO_PIN_RESET);

  /*Configure GPIO pin Output Level */
  HAL_GPIO_WritePin(GPIOD, TFT_CS_Pin|TFT_RESET_Pin, GPIO_PIN_RESET);

  /*Configure GPIO pin Output Level */
  HAL_GPIO_WritePin(GPIOG, USB_PowerSwitchOn_Pin|LCD_RS_Pin|LCD_EN_Pin, GPIO_PIN_RESET);

  /*Configure GPIO pin : USER_Btn_Pin */
  GPIO_InitStruct.Pin = USER_Btn_Pin;
  GPIO_InitStruct.Mode = GPIO_MODE_IT_RISING;
  GPIO_InitStruct.Pull = GPIO_NOPULL;
  HAL_GPIO_Init(USER_Btn_GPIO_Port, &GPIO_InitStruct);

  /*Configure GPIO pin : TFT_DC_Pin */
  GPIO_InitStruct.Pin = TFT_DC_Pin;
  GPIO_InitStruct.Mode = GPIO_MODE_OUTPUT_PP;
  GPIO_InitStruct.Pull = GPIO_NOPULL;
  GPIO_InitStruct.Speed = GPIO_SPEED_FREQ_LOW;
  HAL_GPIO_Init(TFT_DC_GPIO_Port, &GPIO_InitStruct);

  /*Configure GPIO pins : LCD_D5_Pin LCD_D6_Pin LCD_D7_Pin */
  GPIO_InitStruct.Pin = LCD_D5_Pin|LCD_D6_Pin|LCD_D7_Pin;
  GPIO_InitStruct.Mode = GPIO_MODE_OUTPUT_OD;
  GPIO_InitStruct.Pull = GPIO_NOPULL;
  GPIO_InitStruct.Speed = GPIO_SPEED_FREQ_LOW;
  HAL_GPIO_Init(GPIOF, &GPIO_InitStruct);

  /*Configure GPIO pin : US_Trigger_Pin */
  GPIO_InitStruct.Pin = US_Trigger_Pin;
  GPIO_InitStruct.Mode = GPIO_MODE_OUTPUT_PP;
  GPIO_InitStruct.Pull = GPIO_NOPULL;
  GPIO_InitStruct.Speed = GPIO_SPEED_FREQ_LOW;
  HAL_GPIO_Init(US_Trigger_GPIO_Port, &GPIO_InitStruct);

  /*Configure GPIO pins : Button4_Pin Button3_Pin */
  GPIO_InitStruct.Pin = Button4_Pin|Button3_Pin;
  GPIO_InitStruct.Mode = GPIO_MODE_INPUT;
  GPIO_InitStruct.Pull = GPIO_PULLUP;
  HAL_GPIO_Init(GPIOE, &GPIO_InitStruct);

  /*Configure GPIO pins : Button2_Pin Button1_Pin */
  GPIO_InitStruct.Pin = Button2_Pin|Button1_Pin;
  GPIO_InitStruct.Mode = GPIO_MODE_INPUT;
  GPIO_InitStruct.Pull = GPIO_PULLUP;
  HAL_GPIO_Init(GPIOB, &GPIO_InitStruct);

  /*Configure GPIO pins : LD3_Pin LD2_Pin */
  GPIO_InitStruct.Pin = LD3_Pin|LD2_Pin;
  GPIO_InitStruct.Mode = GPIO_MODE_OUTPUT_PP;
  GPIO_InitStruct.Pull = GPIO_NOPULL;
  GPIO_InitStruct.Speed = GPIO_SPEED_FREQ_LOW;
  HAL_GPIO_Init(GPIOB, &GPIO_InitStruct);

  /*Configure GPIO pins : TFT_CS_Pin TFT_RESET_Pin */
  GPIO_InitStruct.Pin = TFT_CS_Pin|TFT_RESET_Pin;
  GPIO_InitStruct.Mode = GPIO_MODE_OUTPUT_PP;
  GPIO_InitStruct.Pull = GPIO_NOPULL;
  GPIO_InitStruct.Speed = GPIO_SPEED_FREQ_LOW;
  HAL_GPIO_Init(GPIOD, &GPIO_InitStruct);

  /*Configure GPIO pin : USB_PowerSwitchOn_Pin */
  GPIO_InitStruct.Pin = USB_PowerSwitchOn_Pin;
  GPIO_InitStruct.Mode = GPIO_MODE_OUTPUT_PP;
  GPIO_InitStruct.Pull = GPIO_NOPULL;
  GPIO_InitStruct.Speed = GPIO_SPEED_FREQ_LOW;
  HAL_GPIO_Init(USB_PowerSwitchOn_GPIO_Port, &GPIO_InitStruct);

  /*Configure GPIO pin : USB_OverCurrent_Pin */
  GPIO_InitStruct.Pin = USB_OverCurrent_Pin;
  GPIO_InitStruct.Mode = GPIO_MODE_INPUT;
  GPIO_InitStruct.Pull = GPIO_NOPULL;
  HAL_GPIO_Init(USB_OverCurrent_GPIO_Port, &GPIO_InitStruct);

  /*Configure GPIO pin : LCD_RS_Pin */
  GPIO_InitStruct.Pin = LCD_RS_Pin;
  GPIO_InitStruct.Mode = GPIO_MODE_OUTPUT_OD;
  GPIO_InitStruct.Pull = GPIO_NOPULL;
  GPIO_InitStruct.Speed = GPIO_SPEED_FREQ_LOW;
  HAL_GPIO_Init(LCD_RS_GPIO_Port, &GPIO_InitStruct);

  /*Configure GPIO pin : LCD_EN_Pin */
  GPIO_InitStruct.Pin = LCD_EN_Pin;
  GPIO_InitStruct.Mode = GPIO_MODE_OUTPUT_OD;
  GPIO_InitStruct.Pull = GPIO_PULLUP;
  GPIO_InitStruct.Speed = GPIO_SPEED_FREQ_LOW;
  HAL_GPIO_Init(LCD_EN_GPIO_Port, &GPIO_InitStruct);

}

/* USER CODE BEGIN 4 */

/**
  * @brief  Rx Half Transfer completed callbacks.
  * @param  huart pointer to a UART_HandleTypeDef structure that contains
  *                the configuration information for the specified UART module.
  * @retval None
  */
void HAL_UART_RxHalfCpltCallback(UART_HandleTypeDef *huart)
{
//    if(encoder.m_pHuart == huart)
//    {
//        encoder.writeUARTData(&huart->pRxBuffPtr[0], 1);
//    }
}

/**
  * @brief  Rx Transfer completed callbacks.
  * @param  huart pointer to a UART_HandleTypeDef structure that contains
  *                the configuration information for the specified UART module.
  * @retval None
  */
void HAL_UART_RxCpltCallback(UART_HandleTypeDef *huart)
{
//    if(encoder.m_pHuart == huart)
//    {
//        encoder.writeUARTData(&huart->pRxBuffPtr[1], 1);
//    }
}

/**
  * @brief  Tx Transfer completed callback.
  * @param  hspi pointer to a SPI_HandleTypeDef structure that contains
  *               the configuration information for SPI module.
  * @retval None
  */
void HAL_SPI_TxCpltCallback(SPI_HandleTypeDef *hspi)
{
//    if(encoder.m_pSPI == hspi)
//    {
//        encoder.handleSPI(&hspi->pRxBuffPtr[0], 1);
//    }
}

/**
  * @brief  Rx Transfer completed callback.
  * @param  hspi pointer to a SPI_HandleTypeDef structure that contains
  *               the configuration information for SPI module.
  * @retval None
  */
void HAL_SPI_RxCpltCallback(SPI_HandleTypeDef *hspi)
{

}

/* USER CODE END 4 */

void StartDefaultTask(void *argument)
{

  for(;;)
  {
    osDelay(1);
  }
}

void HAL_TIM_PeriodElapsedCallback(TIM_HandleTypeDef *htim)
{
  if (htim->Instance == TIM8) {
    HAL_IncTick();
  }
}

void Error_Handler(void)
{
}

/************************ (C) COPYRIGHT STMicroelectronics *****END OF FILE****/
